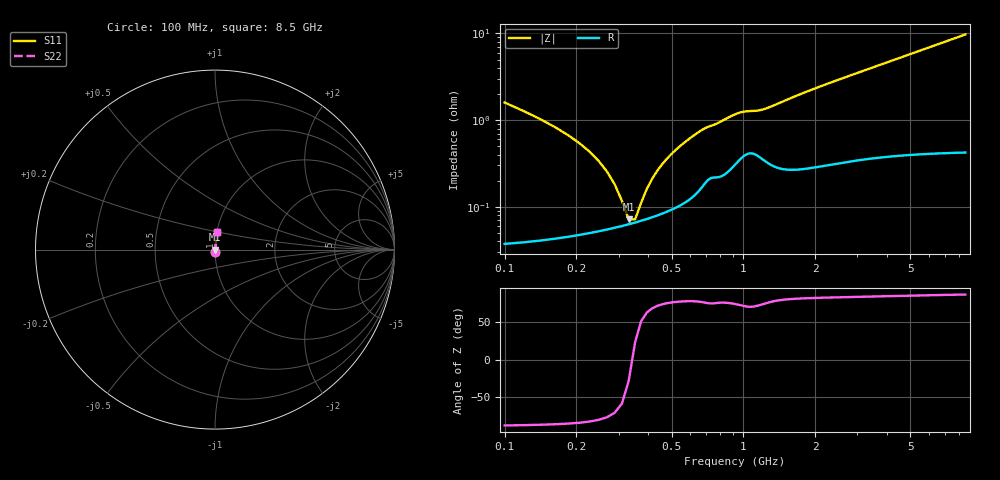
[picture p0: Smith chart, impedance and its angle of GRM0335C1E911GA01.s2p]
!Murata Part Number: GRM0335C1E911GA01
!These Parameters are Measured in Series Mode Connection
!Data Generated on Mar 30, 2021
!  o--ll--o
!Port1  Port2
!  o------o
!Operation Temp=25[degC], DC Bias Voltage=0[V]
!Freq. Start=100[MHz] Stop=9[GHz] 401[Steps]
# Hz S RI R 50
!Freq.(Hz) S11(Real) S11(Imag) S21(Real) S21(Imag) S12(Real) S12(Imag) S22(Real) S22(Imag)
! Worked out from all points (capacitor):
!   401 points, 100 MHz to 8.5 GHz, reference 50 ohm
!   read as one part in series: C = 914 pF near 142 MHz
!   lowest |Z| = 71.5 mohm at 331 MHz (marker M1)
!   series resonance near 342.4 MHz, so ESL is about 240 pH
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1e8  0.000628 -0.0159  0.9994 0.0159  0.9994 0.0159  0.000628 -0.0159
1.42e8  0.000513 -0.0102  0.9995 0.0102  0.9995 0.0102  0.000513 -0.0102
2.26e8  0.000516 -0.00433  0.9995 0.00433  0.9995 0.00433  0.000516 -0.00433
2.68e8  0.000553 -0.0025  0.9994 0.0025  0.9994 0.0025  0.000553 -0.0025
3.1e8  0.000602 -0.001  0.9994 0.001  0.9994 0.001  0.000602 -0.001
3.31e8  0.000629 -0.000338  0.9994 0.000338  0.9994 0.000338  0.000629 -0.000338
3.52e8  0.000659 0.000286  0.9993 -0.000286  0.9993 -0.000286  0.000659 0.000286
3.73e8  0.000691 0.000875  0.9993 -0.000875  0.9993 -0.000875  0.000691 0.000875
4.36e8  0.000801 0.00249  0.9992 -0.00249  0.9992 -0.00249  0.000801 0.00249
4.99e8  0.000939 0.00394  0.9991 -0.00394  0.9991 -0.00394  0.000939 0.00394
5.83e8  0.0012 0.00575  0.9988 -0.00575  0.9988 -0.00575  0.0012 0.00575
6.67e8  0.00171 0.00744  0.9983 -0.00744  0.9983 -0.00744  0.00171 0.00744
8.77e8  0.00275 0.0106  0.9972 -0.0106  0.9972 -0.0106  0.00275 0.0106
9.61e8  0.00358 0.0116  0.9964 -0.0116  0.9964 -0.0116  0.00358 0.0116
1.213e9  0.00362 0.0128  0.9964 -0.0128  0.9964 -0.0128  0.00362 0.0128
1.507e9  0.00296 0.0167  0.997 -0.0167  0.997 -0.0167  0.00296 0.0167
2.095e9  0.00349 0.0241  0.9965 -0.0241  0.9965 -0.0241  0.00349 0.0241
2.914e9  0.00451 0.0336  0.9955 -0.0336  0.9955 -0.0336  0.00451 0.0336
4.3e9  0.00626 0.0491  0.9937 -0.0491  0.9937 -0.0491  0.00626 0.0491
5.707e9  0.00826 0.0647  0.9917 -0.0647  0.9917 -0.0647  0.00826 0.0647
7.114e9  0.0107 0.0802  0.9893 -0.0802  0.9893 -0.0802  0.0107 0.0802
8.5e9  0.0134 0.0954  0.9866 -0.0954  0.9866 -0.0954  0.0134 0.0954
